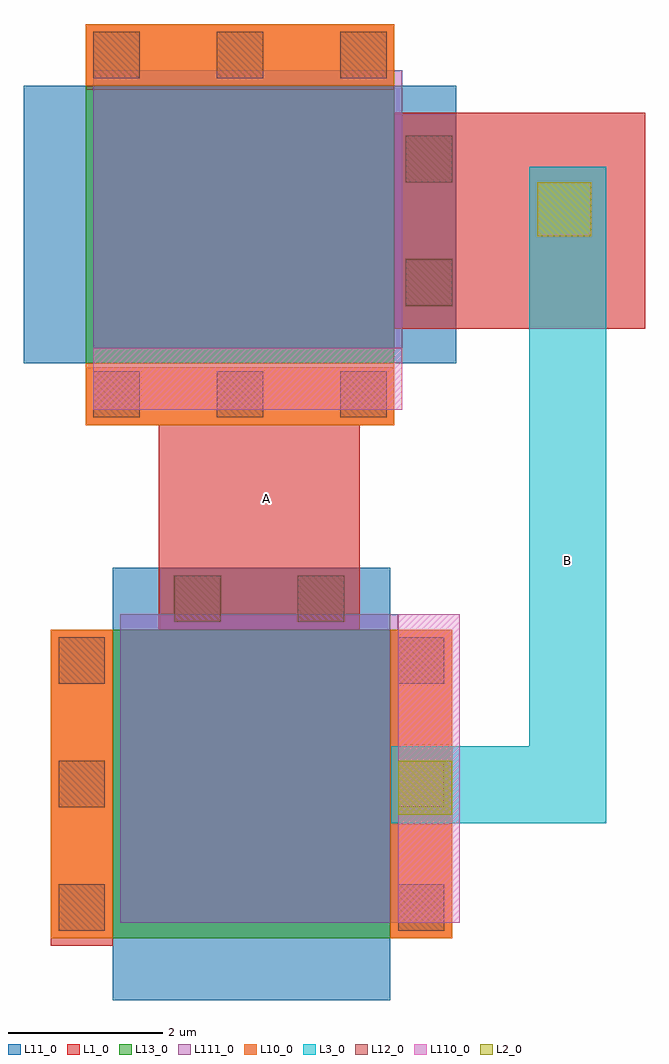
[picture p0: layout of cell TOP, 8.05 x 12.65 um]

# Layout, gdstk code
import gdstk
lib = gdstk.Library(unit=1e-6, precision=1e-09)
def R(c, l, rs):  # rectangles x0, y0, x1, y1
    for r in rs: c.add(gdstk.rectangle(r[:2], r[2:], *l))
def A(c, l, x, y, w, h, nx, ny, dx, dy):  # array of equal rectangles
    R(c, l, [(x+i*dx, y+j*dy, x+i*dx+w, y+j*dy+h) for i in range(nx) for j in range(ny)])
L1_0 = (1, 0)
L2_0 = (2, 0)
L3_0 = (3, 0)
L10_0 = (10, 0)
L11_0 = (11, 0)
L12_0 = (12, 0)
L13_0 = (13, 0)
L110_0 = (110, 0)
L111_0 = (111, 0)

d_mos = lib.new_cell('D$MOS')
R(d_mos, L10_0, [(-2.6,-2,-1.8,2), (1.8,-2,2.6,2)])
R(d_mos, L11_0, [(-1.8,-2,1.8,2)])

d_mos_1 = lib.new_cell('D$MOS$1')
R(d_mos_1, L10_0, [(-2,-2.6,2,-1.8), (-2,1.8,2,2.6)])
R(d_mos_1, L11_0, [(-2,-1.8,2,1.8)])

top = lib.new_cell('TOP')
R(top, L1_0, [(-2.8,-2.8,-2,1.3), (1.6,-2.7,2.4,1.3), (-1.4,1.3,1.2,4.3), (-2.35,3.95,1.65,4.7), (1.65,5.2,4.9,8), (-2.35,8.3,1.65,9.15)])
R(top, L2_0, [(1.7,-1.1,2.4,-0.4), (3.5,6.4,4.2,7.1)])
R(top, L10_0, [(-2.8,-2.7,-2,1.3), (1.6,-2.7,2.4,1.3), (-2.35,3.95,1.65,4.75), (-2.35,8.35,1.65,9.15)])
R(top, L11_0, [(-2,-3.5,1.6,2.1), (-3.15,4.75,2.45,8.35)])
A(top, L12_0, 1.7, -2.6, 0.6, 0.6, 1, 3, 0, 1.6)
A(top, L12_0, -2.25, 8.45, 0.6, 0.6, 3, 1, 1.6, 0)
R(top, L12_0, [(-2.7,-2.6,-2.1,-2), (-2.7,-2.6,-2.1,-2), (-2.7,-1,-2.1,-0.4), (-2.7,-1,-2.1,-0.4), (-2.7,0.6,-2.1,1.2), (-2.7,0.6,-2.1,1.2), (-1.2,1.4,-0.6,2), (0.4,1.4,1,2), (-2.25,4.05,-1.65,4.65), (-2.25,4.05,-1.65,4.65), (-0.65,4.05,-0.05,4.65), (-0.65,4.05,-0.05,4.65), (0.95,4.05,1.55,4.65), (0.95,4.05,1.55,4.65), (1.8,5.5,2.4,6.1), (1.8,7.1,2.4,7.7)])
R(top, L13_0, [(-2,-2.7,1.6,1.3), (-2.35,4.75,1.65,8.35)])
R(top, L110_0, [(1.7,-2.5,2.5,1.5), (-2.25,4.15,1.75,4.95)])
R(top, L111_0, [(-1.9,-2.5,1.7,1.5), (-2.25,4.95,1.75,8.55)])
top.add(gdstk.FlexPath([(1.61,-0.71),(3.9,-0.71),(3.9,7.3)], 1, ends="flush", simple_path=True, layer=3, datatype=0))  # L3_0
top.add(gdstk.Reference(d_mos, (-0.2,-0.7)))
top.add(gdstk.Reference(d_mos_1, (-0.35,6.55)))
top.add(gdstk.Label('A', (0,3), layer=1, texttype=0))
top.add(gdstk.Label('B', (3.9,2.2), layer=3, texttype=0))

lib.write_gds('TOP.gds')
